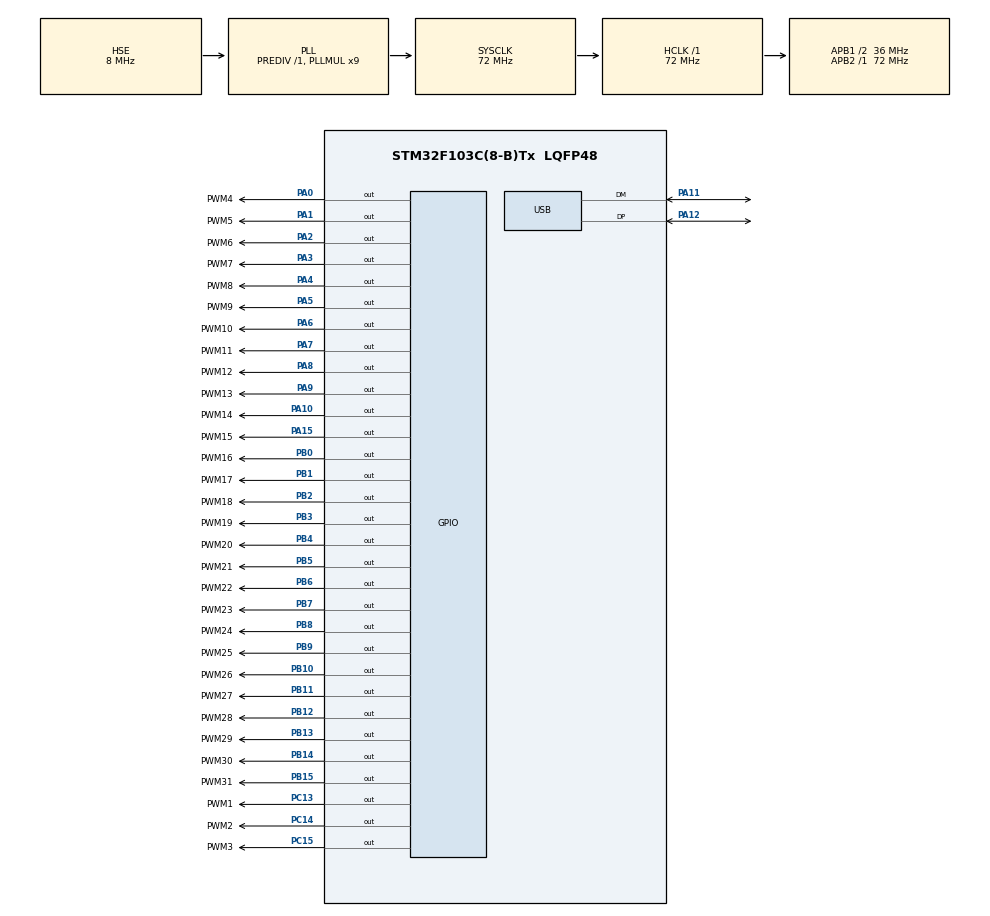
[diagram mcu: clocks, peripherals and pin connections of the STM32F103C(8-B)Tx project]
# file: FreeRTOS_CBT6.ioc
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FREERTOS.Tasks01=defaultTask,0,512,StartDefaultTask,Default,NULL,Dynamic,NULL,NULL
FREERTOS.configTOTAL_HEAP_SIZE=10240
FREERTOS.configUSE_MALLOC_FAILED_HOOK=1
Mcu.Family=STM32F1
Mcu.Name=STM32F103C(8-B)Tx
Mcu.Package=LQFP48
NVIC.PriorityGroup=NVIC_PRIORITYGROUP_4
NVIC.TIM1_UP_IRQn=true\:6\:0\:true\:false\:true\:true\:true\:true\:true
NVIC.TIM2_IRQn=true\:7\:0\:true\:false\:true\:true\:true\:true\:true
NVIC.TIM3_IRQn=true\:8\:0\:true\:false\:true\:true\:true\:true\:true
NVIC.TIM4_IRQn=true\:9\:0\:true\:false\:true\:true\:true\:true\:true
NVIC.USB_LP_CAN1_RX0_IRQn=true\:5\:0\:false\:false\:true\:true\:false\:true\:true
PA0-WKUP.GPIO_Label=PWM4
PA0-WKUP.GPIO_Speed=GPIO_SPEED_FREQ_MEDIUM
PA0-WKUP.Signal=GPIO_Output
PA1.GPIO_Label=PWM5
PA1.GPIO_Speed=GPIO_SPEED_FREQ_MEDIUM
PA1.Signal=GPIO_Output
PA10.GPIO_Label=PWM14
PA10.GPIO_Speed=GPIO_SPEED_FREQ_MEDIUM
PA10.Signal=GPIO_Output
PA11.Mode=Device
PA11.Signal=USB_DM
PA12.Mode=Device
PA12.Signal=USB_DP
PA15.GPIO_Label=PWM15
PA15.GPIO_Speed=GPIO_SPEED_FREQ_MEDIUM
PA15.Signal=GPIO_Output
PA2.GPIO_Label=PWM6
PA2.GPIO_Speed=GPIO_SPEED_FREQ_MEDIUM
PA2.Signal=GPIO_Output
PA3.GPIO_Label=PWM7
PA3.GPIO_Speed=GPIO_SPEED_FREQ_MEDIUM
PA3.Signal=GPIO_Output
PA4.GPIO_Label=PWM8
PA4.GPIO_Speed=GPIO_SPEED_FREQ_MEDIUM
PA4.Signal=GPIO_Output
PA5.GPIO_Label=PWM9
PA5.GPIO_Speed=GPIO_SPEED_FREQ_MEDIUM
PA5.Signal=GPIO_Output
PA6.GPIO_Label=PWM10
PA6.GPIO_Speed=GPIO_SPEED_FREQ_MEDIUM
PA6.Signal=GPIO_Output
PA7.GPIO_Label=PWM11
PA7.GPIO_Speed=GPIO_SPEED_FREQ_MEDIUM
PA7.Signal=GPIO_Output
PA8.GPIO_Label=PWM12
PA8.GPIO_Speed=GPIO_SPEED_FREQ_MEDIUM
PA8.Signal=GPIO_Output
PA9.GPIO_Label=PWM13
PA9.GPIO_Speed=GPIO_SPEED_FREQ_MEDIUM
PA9.Signal=GPIO_Output
PB0.GPIO_Label=PWM16
PB0.GPIO_Speed=GPIO_SPEED_FREQ_MEDIUM
PB0.Signal=GPIO_Output
PB1.GPIO_Label=PWM17
PB1.GPIO_Speed=GPIO_SPEED_FREQ_MEDIUM
PB1.Signal=GPIO_Output
PB10.GPIO_Label=PWM26
PB10.GPIO_Speed=GPIO_SPEED_FREQ_MEDIUM
PB10.Signal=GPIO_Output
PB11.GPIO_Label=PWM27
PB11.GPIO_Speed=GPIO_SPEED_FREQ_MEDIUM
PB11.Signal=GPIO_Output
PB12.GPIO_Label=PWM28
PB12.GPIO_Speed=GPIO_SPEED_FREQ_MEDIUM
PB12.Signal=GPIO_Output
PB13.GPIO_Label=PWM29
PB13.GPIO_Speed=GPIO_SPEED_FREQ_MEDIUM
PB13.Signal=GPIO_Output
PB14.GPIO_Label=PWM30
PB14.GPIO_Speed=GPIO_SPEED_FREQ_MEDIUM
PB14.Signal=GPIO_Output
PB15.GPIO_Label=PWM31
PB15.GPIO_Speed=GPIO_SPEED_FREQ_MEDIUM
PB15.Signal=GPIO_Output
PB2.GPIO_Label=PWM18
PB2.GPIO_Speed=GPIO_SPEED_FREQ_MEDIUM
PB2.Signal=GPIO_Output
PB3.GPIO_Label=PWM19
PB3.GPIO_Speed=GPIO_SPEED_FREQ_MEDIUM
PB3.Signal=GPIO_Output
PB4.GPIO_Label=PWM20
PB4.GPIO_Speed=GPIO_SPEED_FREQ_MEDIUM
PB4.Signal=GPIO_Output
PB5.GPIO_Label=PWM21
PB5.GPIO_Speed=GPIO_SPEED_FREQ_MEDIUM
PB5.Signal=GPIO_Output
PB6.GPIO_Label=PWM22
PB6.GPIO_Speed=GPIO_SPEED_FREQ_MEDIUM
PB6.Signal=GPIO_Output
PB7.GPIO_Label=PWM23
PB7.GPIO_Speed=GPIO_SPEED_FREQ_MEDIUM
PB7.Signal=GPIO_Output
PB8.GPIO_Label=PWM24
PB8.GPIO_Speed=GPIO_SPEED_FREQ_MEDIUM
PB8.Signal=GPIO_Output
PB9.GPIO_Label=PWM25
PB9.GPIO_Speed=GPIO_SPEED_FREQ_MEDIUM
PB9.Signal=GPIO_Output
PC13-TAMPER-RTC.GPIO_Label=PWM1
PC13-TAMPER-RTC.GPIO_Speed=GPIO_SPEED_FREQ_MEDIUM
PC13-TAMPER-RTC.PinState=GPIO_PIN_SET
PC13-TAMPER-RTC.Signal=GPIO_Output
PC14-OSC32_IN.GPIO_Label=PWM2
PC14-OSC32_IN.GPIO_Speed=GPIO_SPEED_FREQ_MEDIUM
PC14-OSC32_IN.Signal=GPIO_Output
PC15-OSC32_OUT.GPIO_Label=PWM3
PC15-OSC32_OUT.GPIO_Speed=GPIO_SPEED_FREQ_MEDIUM
PC15-OSC32_OUT.Signal=GPIO_Output
PD0-OSC_IN.Mode=HSE-External-Oscillator
PD0-OSC_IN.Signal=RCC_OSC_IN
PD1-OSC_OUT.Mode=HSE-External-Oscillator
PD1-OSC_OUT.Signal=RCC_OSC_OUT
ProjectManager.HeapSize=0x200
ProjectManager.StackSize=0x400
ProjectManager.TargetToolchain=MDK-ARM V5
RCC.AHBFreq_Value=72000000
RCC.APB1CLKDivider=RCC_HCLK_DIV2
RCC.APB1Freq_Value=36000000
RCC.APB1TimFreq_Value=72000000
RCC.APB2Freq_Value=72000000
RCC.APB2TimFreq_Value=72000000
RCC.HCLKFreq_Value=72000000
RCC.PLLMUL=RCC_PLL_MUL9
RCC.PLLSourceVirtual=RCC_PLLSOURCE_HSE
RCC.SYSCLKFreq_VALUE=72000000
RCC.SYSCLKSource=RCC_SYSCLKSOURCE_PLLCLK
RCC.USBFreq_Value=48000000
RCC.USBPrescaler=RCC_USBCLKSOURCE_PLL_DIV1_5
TIM1.AutoReloadPreload=TIM_AUTORELOAD_PRELOAD_ENABLE
TIM1.Period=99
TIM1.Prescaler=7199
TIM2.AutoReloadPreload=TIM_AUTORELOAD_PRELOAD_ENABLE
TIM2.Period=99
TIM2.Prescaler=7199
TIM3.AutoReloadPreload=TIM_AUTORELOAD_PRELOAD_ENABLE
TIM3.Period=99
TIM3.Prescaler=7199
TIM4.AutoReloadPreload=TIM_AUTORELOAD_PRELOAD_ENABLE
TIM4.Period=99
TIM4.Prescaler=7199
USB_DEVICE.CLASS_NAME_FS=CDC
USB_DEVICE.VirtualMode=Cdc
USB_DEVICE.VirtualModeFS=Cdc_FS
VP_FREERTOS_VS_CMSIS_V1.Mode=CMSIS_V1
VP_SYS_VS_ND.Mode=No_Debug
VP_TIM1_VS_ClockSourceINT.Mode=Internal
VP_TIM2_VS_ClockSourceINT.Mode=Internal
VP_TIM3_VS_ClockSourceINT.Mode=Internal
VP_TIM4_VS_ClockSourceINT.Mode=Internal
VP_USB_DEVICE_VS_USB_DEVICE_CDC_FS.Mode=CDC_FS
board=custom

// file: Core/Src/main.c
/* USER CODE BEGIN Header */
/**
 ******************************************************************************
 * @file           : main.c
 * @brief          : Main program body
 ******************************************************************************
 * @attention
 *
 * Copyright (c) 2023 STMicroelectronics.
 * All rights reserved.
 *
 * This software is licensed under terms that can be found in the LICENSE file
 * in the root directory of this software component.
 * If no LICENSE file comes with this software, it is provided AS-IS.
 *
 ******************************************************************************
 */
/* USER CODE END Header */
#include "main.h"
#include "cmsis_os.h"
#include "tim.h"
#include "usb_device.h"
#include "gpio.h"

void SystemClock_Config(void);
void MX_FREERTOS_Init(void);

int main(void)
{

  /* MCU Configuration--------------------------------------------------------*/

  /* Reset of all peripherals, Initializes the Flash interface and the Systick. */
  HAL_Init();

  /* Configure the system clock */
  SystemClock_Config();

  /* Initialize all configured peripherals */
  MX_GPIO_Init();
  MX_TIM1_Init();
  MX_TIM2_Init();
  MX_TIM3_Init();
  MX_TIM4_Init();
  /* USER CODE BEGIN 2 */
  Modbus_RegMap();
  HAL_Delay(2000);

  // VirPwm_Init(&VirPwmDef1, VirPwmDef1.Frequency, VirPwmDef1.DutyCycle, VirPwmDef1.Idle, VirPwmDef1.SetOut);
  VirPwm_Init(&VirPwmDef2, VirPwmDef2.Frequency, VirPwmDef2.DutyCycle, VirPwmDef2.Idle, VirPwmDef2.SetOut);
  VirPwm_Init(&VirPwmDef3, VirPwmDef3.Frequency, VirPwmDef3.DutyCycle, VirPwmDef3.Idle, VirPwmDef3.SetOut);
  VirPwm_Init(&VirPwmDef4, VirPwmDef4.Frequency, VirPwmDef4.DutyCycle, VirPwmDef4.Idle, VirPwmDef4.SetOut);
  VirPwm_Init(&VirPwmDef5, VirPwmDef5.Frequency, VirPwmDef5.DutyCycle, VirPwmDef5.Idle, VirPwmDef5.SetOut);
  VirPwm_Init(&VirPwmDef5, VirPwmDef5.Frequency, VirPwmDef5.DutyCycle, VirPwmDef5.Idle, VirPwmDef5.SetOut);
  VirPwm_Init(&VirPwmDef6, VirPwmDef6.Frequency, VirPwmDef6.DutyCycle, VirPwmDef6.Idle, VirPwmDef6.SetOut);
  VirPwm_Init(&VirPwmDef7, VirPwmDef7.Frequency, VirPwmDef7.DutyCycle, VirPwmDef7.Idle, VirPwmDef7.SetOut);
  VirPwm_Init(&VirPwmDef8, VirPwmDef8.Frequency, VirPwmDef8.DutyCycle, VirPwmDef8.Idle, VirPwmDef8.SetOut);
  VirPwm_Init(&VirPwmDef9, VirPwmDef9.Frequency, VirPwmDef9.DutyCycle, VirPwmDef9.Idle, VirPwmDef9.SetOut);
  VirPwm_Init(&VirPwmDef10, VirPwmDef10.Frequency, VirPwmDef10.DutyCycle, VirPwmDef10.Idle, VirPwmDef10.SetOut);
  VirPwm_Init(&VirPwmDef11, VirPwmDef11.Frequency, VirPwmDef11.DutyCycle, VirPwmDef11.Idle, VirPwmDef11.SetOut);
  VirPwm_Init(&VirPwmDef12, VirPwmDef12.Frequency, VirPwmDef12.DutyCycle, VirPwmDef12.Idle, VirPwmDef12.SetOut);
  VirPwm_Init(&VirPwmDef13, VirPwmDef13.Frequency, VirPwmDef13.DutyCycle, VirPwmDef13.Idle, VirPwmDef13.SetOut);
  VirPwm_Init(&VirPwmDef14, VirPwmDef14.Frequency, VirPwmDef14.DutyCycle, VirPwmDef14.Idle, VirPwmDef14.SetOut);
  VirPwm_Init(&VirPwmDef15, VirPwmDef15.Frequency, VirPwmDef15.DutyCycle, VirPwmDef15.Idle, VirPwmDef15.SetOut);
  VirPwm_Init(&VirPwmDef16, VirPwmDef16.Frequency, VirPwmDef16.DutyCycle, VirPwmDef16.Idle, VirPwmDef16.SetOut);
  VirPwm_Init(&VirPwmDef17, VirPwmDef17.Frequency, VirPwmDef17.DutyCycle, VirPwmDef17.Idle, VirPwmDef17.SetOut);
  VirPwm_Init(&VirPwmDef18, VirPwmDef18.Frequency, VirPwmDef18.DutyCycle, VirPwmDef18.Idle, VirPwmDef18.SetOut);
  VirPwm_Init(&VirPwmDef19, VirPwmDef19.Frequency, VirPwmDef19.DutyCycle, VirPwmDef19.Idle, VirPwmDef19.SetOut);
  VirPwm_Init(&VirPwmDef20, VirPwmDef20.Frequency, VirPwmDef20.DutyCycle, VirPwmDef20.Idle, VirPwmDef20.SetOut);
  VirPwm_Init(&VirPwmDef21, VirPwmDef21.Frequency, VirPwmDef21.DutyCycle, VirPwmDef21.Idle, VirPwmDef21.SetOut);
  VirPwm_Init(&VirPwmDef22, VirPwmDef22.Frequency, VirPwmDef22.DutyCycle, VirPwmDef22.Idle, VirPwmDef22.SetOut);
  VirPwm_Init(&VirPwmDef23, VirPwmDef23.Frequency, VirPwmDef23.DutyCycle, VirPwmDef23.Idle, VirPwmDef23.SetOut);
  VirPwm_Init(&VirPwmDef24, VirPwmDef24.Frequency, VirPwmDef24.DutyCycle, VirPwmDef24.Idle, VirPwmDef24.SetOut);
  VirPwm_Init(&VirPwmDef25, VirPwmDef25.Frequency, VirPwmDef25.DutyCycle, VirPwmDef25.Idle, VirPwmDef25.SetOut);
  VirPwm_Init(&VirPwmDef26, VirPwmDef26.Frequency, VirPwmDef26.DutyCycle, VirPwmDef26.Idle, VirPwmDef26.SetOut);
  VirPwm_Init(&VirPwmDef27, VirPwmDef27.Frequency, VirPwmDef27.DutyCycle, VirPwmDef27.Idle, VirPwmDef27.SetOut);
  VirPwm_Init(&VirPwmDef28, VirPwmDef28.Frequency, VirPwmDef28.DutyCycle, VirPwmDef28.Idle, VirPwmDef28.SetOut);
  VirPwm_Init(&VirPwmDef29, VirPwmDef29.Frequency, VirPwmDef29.DutyCycle, VirPwmDef29.Idle, VirPwmDef29.SetOut);
  VirPwm_Init(&VirPwmDef30, VirPwmDef30.Frequency, VirPwmDef30.DutyCycle, VirPwmDef30.Idle, VirPwmDef30.SetOut);
  VirPwm_Init(&VirPwmDef31, VirPwmDef31.Frequency, VirPwmDef31.DutyCycle, VirPwmDef31.Idle, VirPwmDef31.SetOut);

  /* USER CODE END 2 */

  /* Call init function for freertos objects (in freertos.c) */
  MX_FREERTOS_Init();

  /* Start scheduler */
  osKernelStart();

  /* We should never get here as control is now taken by the scheduler */
  /* Infinite loop */
  while (1)
  {

  }
}

void SystemClock_Config(void)
{
  RCC_OscInitTypeDef RCC_OscInitStruct = {0};
  RCC_ClkInitTypeDef RCC_ClkInitStruct = {0};
  RCC_PeriphCLKInitTypeDef PeriphClkInit = {0};

  /** Initializes the RCC Oscillators according to the specified parameters
  * in the RCC_OscInitTypeDef structure.
  */
  RCC_OscInitStruct.OscillatorType = RCC_OSCILLATORTYPE_HSE;
  RCC_OscInitStruct.HSEState = RCC_HSE_ON;
  RCC_OscInitStruct.HSEPredivValue = RCC_HSE_PREDIV_DIV1;
  RCC_OscInitStruct.HSIState = RCC_HSI_ON;
  RCC_OscInitStruct.PLL.PLLState = RCC_PLL_ON;
  RCC_OscInitStruct.PLL.PLLSource = RCC_PLLSOURCE_HSE;
  RCC_OscInitStruct.PLL.PLLMUL = RCC_PLL_MUL9;
  if (HAL_RCC_OscConfig(&RCC_OscInitStruct) != HAL_OK)
  {
    Error_Handler();
  }

  /** Initializes the CPU, AHB and APB buses clocks
  */
  RCC_ClkInitStruct.ClockType = RCC_CLOCKTYPE_HCLK|RCC_CLOCKTYPE_SYSCLK
                              |RCC_CLOCKTYPE_PCLK1|RCC_CLOCKTYPE_PCLK2;
  RCC_ClkInitStruct.SYSCLKSource = RCC_SYSCLKSOURCE_PLLCLK;
  RCC_ClkInitStruct.AHBCLKDivider = RCC_SYSCLK_DIV1;
  RCC_ClkInitStruct.APB1CLKDivider = RCC_HCLK_DIV2;
  RCC_ClkInitStruct.APB2CLKDivider = RCC_HCLK_DIV1;

  if (HAL_RCC_ClockConfig(&RCC_ClkInitStruct, FLASH_LATENCY_2) != HAL_OK)
  {
    Error_Handler();
  }
  PeriphClkInit.PeriphClockSelection = RCC_PERIPHCLK_USB;
  PeriphClkInit.UsbClockSelection = RCC_USBCLKSOURCE_PLL_DIV1_5;
  if (HAL_RCCEx_PeriphCLKConfig(&PeriphClkInit) != HAL_OK)
  {
    Error_Handler();
  }
}

void Error_Handler(void)
{
  __disable_irq();
  while (1)
  {
  }
}

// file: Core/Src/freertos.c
/* USER CODE BEGIN Header */
/**
  ******************************************************************************
  * File Name          : freertos.c
  * Description        : Code for freertos applications
  ******************************************************************************
  * @attention
  *
  * Copyright (c) 2023 STMicroelectronics.
  * All rights reserved.
  *
  * This software is licensed under terms that can be found in the LICENSE file
  * in the root directory of this software component.
  * If no LICENSE file comes with this software, it is provided AS-IS.
  *
  ******************************************************************************
  */
/* USER CODE END Header */

#include "FreeRTOS.h"
#include "task.h"
#include "main.h"
#include "cmsis_os.h"

osThreadId defaultTaskHandle;

/* USER CODE BEGIN FunctionPrototypes */
osThreadId LEDFLASH_TaskHandle;
void LEDFLASH_Task(void const * argument);
/* USER CODE END FunctionPrototypes */

void StartDefaultTask(void const * argument);

extern void MX_USB_DEVICE_Init(void);
void MX_FREERTOS_Init(void); /* (MISRA C 2004 rule 8.1) */

/* GetIdleTaskMemory prototype (linked to static allocation support) */
void vApplicationGetIdleTaskMemory( StaticTask_t **ppxIdleTaskTCBBuffer, StackType_t **ppxIdleTaskStackBuffer, uint32_t *pulIdleTaskStackSize );

/* Hook prototypes */
void vApplicationMallocFailedHook(void);

/* USER CODE BEGIN 5 */
__weak void vApplicationMallocFailedHook(void)
{
   /* vApplicationMallocFailedHook() will only be called if
   configUSE_MALLOC_FAILED_HOOK is set to 1 in FreeRTOSConfig.h. It is a hook
   function that will get called if a call to pvPortMalloc() fails.
   pvPortMalloc() is called internally by the kernel whenever a task, queue,
   timer or semaphore is created. It is also called by various parts of the
   demo application. If heap_1.c or heap_2.c are used, then the size of the
   heap available to pvPortMalloc() is defined by configTOTAL_HEAP_SIZE in
   FreeRTOSConfig.h, and the xPortGetFreeHeapSize() API function can be used
   to query the size of free heap space that remains (although it does not
   provide information on how the remaining heap might be fragmented). */
}
/* USER CODE END 5 */

/* USER CODE BEGIN GET_IDLE_TASK_MEMORY */
static StaticTask_t xIdleTaskTCBBuffer;
static StackType_t xIdleStack[configMINIMAL_STACK_SIZE];

void vApplicationGetIdleTaskMemory( StaticTask_t **ppxIdleTaskTCBBuffer, StackType_t **ppxIdleTaskStackBuffer, uint32_t *pulIdleTaskStackSize )
{
  *ppxIdleTaskTCBBuffer = &xIdleTaskTCBBuffer;
  *ppxIdleTaskStackBuffer = &xIdleStack[0];
  *pulIdleTaskStackSize = configMINIMAL_STACK_SIZE;
  /* place for user code */
}
/* USER CODE END GET_IDLE_TASK_MEMORY */

void MX_FREERTOS_Init(void) {

  /* Create the thread(s) */
  /* definition and creation of defaultTask */
  osThreadDef(defaultTask, StartDefaultTask, osPriorityNormal, 0, 512);
  defaultTaskHandle = osThreadCreate(osThread(defaultTask), NULL);

  /* USER CODE BEGIN RTOS_THREADS */
  osThreadDef(LEDFLASH, LEDFLASH_Task, osPriorityNormal, 0, 128);
  LEDFLASH_TaskHandle = osThreadCreate(osThread(LEDFLASH), NULL);
  /* USER CODE END RTOS_THREADS */

}

void StartDefaultTask(void const * argument)
{
  /* init code for USB_DEVICE */
  MX_USB_DEVICE_Init();
  /* USER CODE BEGIN StartDefaultTask */
  /* Infinite loop */
  for(;;)
  {
    RS485_Service();
    osDelay(50);
  }
  /* USER CODE END StartDefaultTask */
}

/* USER CODE BEGIN Application */
void LEDFLASH_Task(void const * argument)
{
  /* init code for USB_DEVICE */
  MX_USB_DEVICE_Init();
  /* USER CODE BEGIN StartDefaultTask */
  /* Infinite loop */
  for(;;)
  {
		HAL_GPIO_TogglePin(PWM1_GPIO_Port, PWM1_Pin);
    osDelay(1000);
  }
  /* USER CODE END StartDefaultTask */
}
/* USER CODE END Application */
